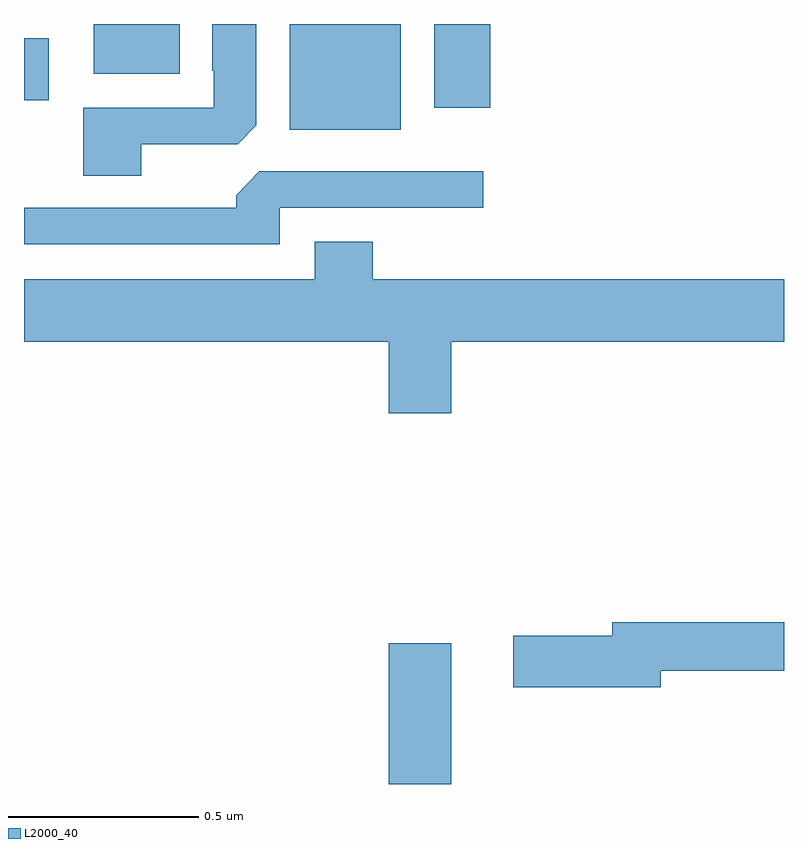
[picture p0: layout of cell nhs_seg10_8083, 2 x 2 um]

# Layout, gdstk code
import gdstk
lib = gdstk.Library(unit=1e-6, precision=1e-09)
def R(c, l, rs):  # rectangles x0, y0, x1, y1
    for r in rs: c.add(gdstk.rectangle(r[:2], r[2:], *l))
def P(c, l, *ps):  # polygons
    for p in ps: c.add(gdstk.Polygon(p, *l))
L2000_40 = (2000, 40)

nhs_seg10_8083 = lib.new_cell('nhs_seg10_8083')
R(nhs_seg10_8083, L2000_40, [(212.96,1284.5,213.124,1284.871), (212.699,1286.222,212.992,1286.5), (213.08,1286.28,213.227,1286.5), (212,1286.3,212.065,1286.463), (212.183,1286.369,212.41,1286.5)])
P(nhs_seg10_8083, L2000_40, [(212.308,1286.184),(212.562,1286.184),(212.611,1286.233),(212.611,1286.5),(212.495,1286.5),(212.495,1286.377),(212.499,1286.377),(212.499,1286.28),(212.156,1286.28),(212.156,1286.101),(212.308,1286.101)],
  [(212.673,1286.016),(213.208,1286.016),(213.208,1286.112),(212.619,1286.112),(212.558,1286.05),(212.558,1286.016),(212,1286.016),(212,1285.92),(212.673,1285.92)],
  [(213.124,1285.664),(214,1285.664),(214,1285.828),(212.918,1285.828),(212.918,1285.927),(212.765,1285.927),(212.765,1285.828),(212,1285.828),(212,1285.664),(212.96,1285.664),(212.96,1285.476),(213.124,1285.476)],
  [(213.676,1284.798),(214,1284.798),(214,1284.926),(213.548,1284.926),(213.548,1284.89),(213.288,1284.89),(213.288,1284.755),(213.676,1284.755)])

lib.write_gds('nhs_seg10_8083.gds')
